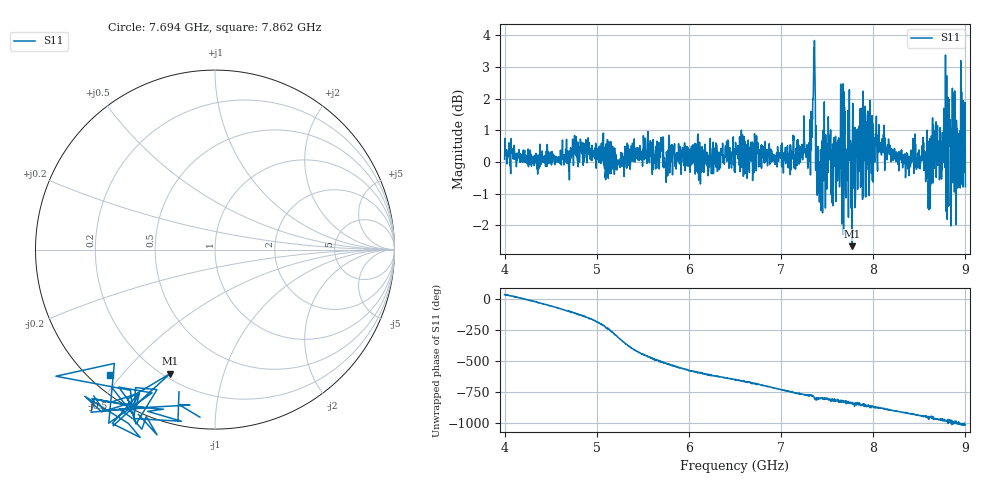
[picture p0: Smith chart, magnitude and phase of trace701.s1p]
! Created with skrf 1.8.0 (http://scikit-rf.org).
# Hz S RI R 50.0
!freq ReS11 ImS11
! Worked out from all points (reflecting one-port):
!   1601 points, 4 GHz to 9 GHz, reference 50 ohm
!   lowest |S11| = -2.7 dB at 7.772 GHz (marker M1), VSWR 6.57, Z = 11.2 - j33.8 ohm
!   phase of S11 starts at 39 deg and turns -1048 deg over the sweep
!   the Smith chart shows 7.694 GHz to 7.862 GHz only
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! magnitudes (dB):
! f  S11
! 4 GHz  0.1
! 4.625 GHz  0.3
! 5.25 GHz  -0.1
! 5.531 GHz  0.4
! 5.875 GHz  0.1
! 6.5 GHz  -0.3
! 7.125 GHz  0.1
! 7.294 GHz  0.3
! 7.347 GHz  2.0
! 7.369 GHz  2.5
! 7.412 GHz  -0.2
! 7.512 GHz  1.4
! 7.572 GHz  0.8
! 7.619 GHz  0.7
! 7.669 GHz  2.2
! 7.703 GHz  -1.1
! 7.75 GHz  0.0
! 7.772 GHz  -2.7
! 7.928 GHz  0.7
! 8.375 GHz  -0.2
! 8.434 GHz  0.4
! 8.622 GHz  0.5
! 8.656 GHz  0.6
! 8.738 GHz  0.6
! 8.775 GHz  1.2
! 8.919 GHz  -0.7
! 8.972 GHz  0.8
! 9 GHz  -0.8
